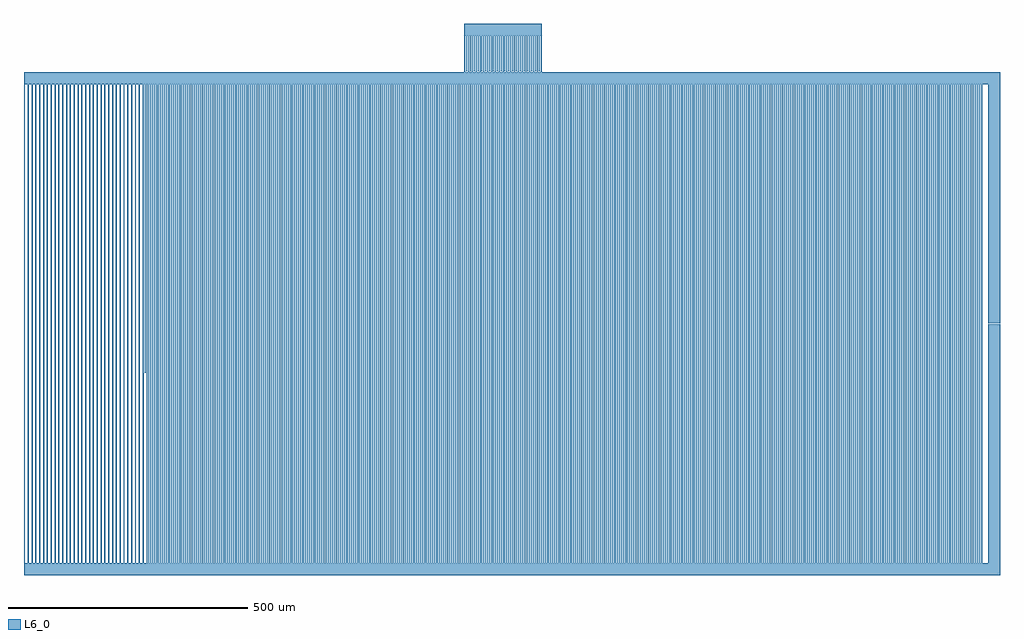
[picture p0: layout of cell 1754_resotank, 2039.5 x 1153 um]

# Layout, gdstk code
import gdstk
lib = gdstk.Library(unit=1e-6, precision=1e-09)
def P(c, l, *ps):  # polygons
    for p in ps: c.add(gdstk.Polygon(p, *l))
L6_0 = (6, 0)

c_1754_resotank = lib.new_cell('1754_resotank')
P(c_1754_resotank, L6_0, [(54,-3523.25),(54,-3448.25),(50,-3448.25),(50,-3423.25),(212,-3423.25),(212,-3448.25),(208,-3448.25),(208,-3523.25),(206,-3523.25),(206,-3448.25),(200,-3448.25),(200,-3523.25),(198,-3523.25),(198,-3448.25),(192,-3448.25),(192,-3523.25),(190,-3523.25),(190,-3448.25),(184,-3448.25),(184,-3523.25),(182,-3523.25),(182,-3448.25),(176,-3448.25),(176,-3523.25),(174,-3523.25),(174,-3448.25),(168,-3448.25),(168,-3523.25),(166,-3523.25),(166,-3448.25),(160,-3448.25),(160,-3523.25),(158,-3523.25),(158,-3448.25),(152,-3448.25),(152,-3523.25),(150,-3523.25),(150,-3448.25),(144,-3448.25),(144,-3523.25),(142,-3523.25),(142,-3448.25),(136,-3448.25),(136,-3523.25),(134,-3523.25),(134,-3448.25),(128,-3448.25),(128,-3523.25),(126,-3523.25),(126,-3448.25),(120,-3448.25),(120,-3523.25),(118,-3523.25),(118,-3448.25),(112,-3448.25),(112,-3523.25),(110,-3523.25),(110,-3448.25),(104,-3448.25),(104,-3523.25),(102,-3523.25),(102,-3448.25),(96,-3448.25),(96,-3523.25),(94,-3523.25),(94,-3448.25),(88,-3448.25),(88,-3523.25),(86,-3523.25),(86,-3448.25),(80,-3448.25),(80,-3523.25),(78,-3523.25),(78,-3448.25),(72,-3448.25),(72,-3523.25),(70,-3523.25),(70,-3448.25),(64,-3448.25),(64,-3523.25),(62,-3523.25),(62,-3448.25),(56,-3448.25),(56,-3523.25)],
  [(-610,-4549.75),(-610,-3549.75),(-616,-3549.75),(-616,-4153.259),(-618,-4153.259),(-618,-3549.75),(-870,-3549.75),(-870,-3524.75),(-384,-3524.75),(-384,-4549.75),(-386,-4549.75),(-386,-3549.75),(-392,-3549.75),(-392,-4549.75),(-394,-4549.75),(-394,-3549.75),(-400,-3549.75),(-400,-4549.75),(-402,-4549.75),(-402,-3549.75),(-408,-3549.75),(-408,-4549.75),(-410,-4549.75),(-410,-3549.75),(-416,-3549.75),(-416,-4549.75),(-418,-4549.75),(-418,-3549.75),(-424,-3549.75),(-424,-4549.75),(-426,-4549.75),(-426,-3549.75),(-432,-3549.75),(-432,-4549.75),(-434,-4549.75),(-434,-3549.75),(-440,-3549.75),(-440,-4549.75),(-442,-4549.75),(-442,-3549.75),(-448,-3549.75),(-448,-4549.75),(-450,-4549.75),(-450,-3549.75),(-456,-3549.75),(-456,-4549.75),(-458,-4549.75),(-458,-3549.75),(-464,-3549.75),(-464,-4549.75),(-466,-4549.75),(-466,-3549.75),(-472,-3549.75),(-472,-4549.75),(-474,-4549.75),(-474,-3549.75),(-480,-3549.75),(-480,-4549.75),(-482,-4549.75),(-482,-3549.75),(-488,-3549.75),(-488,-4549.75),(-490,-4549.75),(-490,-3549.75),(-496,-3549.75),(-496,-4549.75),(-498,-4549.75),(-498,-3549.75),(-504,-3549.75),(-504,-4549.75),(-506,-4549.75),(-506,-3549.75),(-512,-3549.75),(-512,-4549.75),(-514,-4549.75),(-514,-3549.75),(-520,-3549.75),(-520,-4549.75),(-522,-4549.75),(-522,-3549.75),(-528,-3549.75),(-528,-4549.75),(-530,-4549.75),(-530,-3549.75),(-536,-3549.75),(-536,-4549.75),(-538,-4549.75),(-538,-3549.75),(-544,-3549.75),(-544,-4549.75),(-546,-4549.75),(-546,-3549.75),(-552,-3549.75),(-552,-4549.75),(-554,-4549.75),(-554,-3549.75),(-560,-3549.75),(-560,-4549.75),(-562,-4549.75),(-562,-3549.75),(-568,-3549.75),(-568,-4549.75),(-570,-4549.75),(-570,-3549.75),(-576,-3549.75),(-576,-4549.75),(-578,-4549.75),(-578,-3549.75),(-584,-3549.75),(-584,-4549.75),(-586,-4549.75),(-586,-3549.75),(-592,-3549.75),(-592,-4549.75),(-594,-4549.75),(-594,-3549.75),(-600,-3549.75),(-600,-4549.75),(-602,-4549.75),(-602,-3549.75),(-608,-3549.75),(-608,-4549.75)],
  [(-378,-4549.75),(-378,-3549.75),(-384,-3549.75),(-384,-3524.75),(-144,-3524.75),(-144,-4549.75),(-146,-4549.75),(-146,-3549.75),(-152,-3549.75),(-152,-4549.75),(-154,-4549.75),(-154,-3549.75),(-160,-3549.75),(-160,-4549.75),(-162,-4549.75),(-162,-3549.75),(-168,-3549.75),(-168,-4549.75),(-170,-4549.75),(-170,-3549.75),(-176,-3549.75),(-176,-4549.75),(-178,-4549.75),(-178,-3549.75),(-184,-3549.75),(-184,-4549.75),(-186,-4549.75),(-186,-3549.75),(-192,-3549.75),(-192,-4549.75),(-194,-4549.75),(-194,-3549.75),(-200,-3549.75),(-200,-4549.75),(-202,-4549.75),(-202,-3549.75),(-208,-3549.75),(-208,-4549.75),(-210,-4549.75),(-210,-3549.75),(-216,-3549.75),(-216,-4549.75),(-218,-4549.75),(-218,-3549.75),(-224,-3549.75),(-224,-4549.75),(-226,-4549.75),(-226,-3549.75),(-232,-3549.75),(-232,-4549.75),(-234,-4549.75),(-234,-3549.75),(-240,-3549.75),(-240,-4549.75),(-242,-4549.75),(-242,-3549.75),(-248,-3549.75),(-248,-4549.75),(-250,-4549.75),(-250,-3549.75),(-256,-3549.75),(-256,-4549.75),(-258,-4549.75),(-258,-3549.75),(-264,-3549.75),(-264,-4549.75),(-266,-4549.75),(-266,-3549.75),(-272,-3549.75),(-272,-4549.75),(-274,-4549.75),(-274,-3549.75),(-280,-3549.75),(-280,-4549.75),(-282,-4549.75),(-282,-3549.75),(-288,-3549.75),(-288,-4549.75),(-290,-4549.75),(-290,-3549.75),(-296,-3549.75),(-296,-4549.75),(-298,-4549.75),(-298,-3549.75),(-304,-3549.75),(-304,-4549.75),(-306,-4549.75),(-306,-3549.75),(-312,-3549.75),(-312,-4549.75),(-314,-4549.75),(-314,-3549.75),(-320,-3549.75),(-320,-4549.75),(-322,-4549.75),(-322,-3549.75),(-328,-3549.75),(-328,-4549.75),(-330,-4549.75),(-330,-3549.75),(-336,-3549.75),(-336,-4549.75),(-338,-4549.75),(-338,-3549.75),(-344,-3549.75),(-344,-4549.75),(-346,-4549.75),(-346,-3549.75),(-352,-3549.75),(-352,-4549.75),(-354,-4549.75),(-354,-3549.75),(-360,-3549.75),(-360,-4549.75),(-362,-4549.75),(-362,-3549.75),(-368,-3549.75),(-368,-4549.75),(-370,-4549.75),(-370,-3549.75),(-376,-3549.75),(-376,-4549.75)],
  [(-138,-4549.75),(-138,-3549.75),(-144,-3549.75),(-144,-3524.75),(50,-3524.75),(50,-3449.75),(52,-3449.75),(52,-3524.75),(58,-3524.75),(58,-3449.75),(60,-3449.75),(60,-3524.75),(66,-3524.75),(66,-3449.75),(68,-3449.75),(68,-3524.75),(72,-3524.75),(72,-4549.75),(70,-4549.75),(70,-3549.75),(64,-3549.75),(64,-4549.75),(62,-4549.75),(62,-3549.75),(56,-3549.75),(56,-4549.75),(54,-4549.75),(54,-3549.75),(48,-3549.75),(48,-4549.75),(46,-4549.75),(46,-3549.75),(40,-3549.75),(40,-4549.75),(38,-4549.75),(38,-3549.75),(32,-3549.75),(32,-4549.75),(30,-4549.75),(30,-3549.75),(24,-3549.75),(24,-4549.75),(22,-4549.75),(22,-3549.75),(16,-3549.75),(16,-4549.75),(14,-4549.75),(14,-3549.75),(8,-3549.75),(8,-4549.75),(6,-4549.75),(6,-3549.75),(0,-3549.75),(0,-4549.75),(-2,-4549.75),(-2,-3549.75),(-8,-3549.75),(-8,-4549.75),(-10,-4549.75),(-10,-3549.75),(-16,-3549.75),(-16,-4549.75),(-18,-4549.75),(-18,-3549.75),(-24,-3549.75),(-24,-4549.75),(-26,-4549.75),(-26,-3549.75),(-32,-3549.75),(-32,-4549.75),(-34,-4549.75),(-34,-3549.75),(-40,-3549.75),(-40,-4549.75),(-42,-4549.75),(-42,-3549.75),(-48,-3549.75),(-48,-4549.75),(-50,-4549.75),(-50,-3549.75),(-56,-3549.75),(-56,-4549.75),(-58,-4549.75),(-58,-3549.75),(-64,-3549.75),(-64,-4549.75),(-66,-4549.75),(-66,-3549.75),(-72,-3549.75),(-72,-4549.75),(-74,-4549.75),(-74,-3549.75),(-80,-3549.75),(-80,-4549.75),(-82,-4549.75),(-82,-3549.75),(-88,-3549.75),(-88,-4549.75),(-90,-4549.75),(-90,-3549.75),(-96,-3549.75),(-96,-4549.75),(-98,-4549.75),(-98,-3549.75),(-104,-3549.75),(-104,-4549.75),(-106,-4549.75),(-106,-3549.75),(-112,-3549.75),(-112,-4549.75),(-114,-4549.75),(-114,-3549.75),(-120,-3549.75),(-120,-4549.75),(-122,-4549.75),(-122,-3549.75),(-128,-3549.75),(-128,-4549.75),(-130,-4549.75),(-130,-3549.75),(-136,-3549.75),(-136,-4549.75)],
  [(78,-4549.75),(78,-3549.75),(72,-3549.75),(72,-3524.75),(74,-3524.75),(74,-3449.75),(76,-3449.75),(76,-3524.75),(82,-3524.75),(82,-3449.75),(84,-3449.75),(84,-3524.75),(90,-3524.75),(90,-3449.75),(92,-3449.75),(92,-3524.75),(98,-3524.75),(98,-3449.75),(100,-3449.75),(100,-3524.75),(106,-3524.75),(106,-3449.75),(108,-3449.75),(108,-3524.75),(114,-3524.75),(114,-3449.75),(116,-3449.75),(116,-3524.75),(122,-3524.75),(122,-3449.75),(124,-3449.75),(124,-3524.75),(130,-3524.75),(130,-3449.75),(132,-3449.75),(132,-3524.75),(138,-3524.75),(138,-3449.75),(140,-3449.75),(140,-3524.75),(146,-3524.75),(146,-3449.75),(148,-3449.75),(148,-3524.75),(154,-3524.75),(154,-3449.75),(156,-3449.75),(156,-3524.75),(162,-3524.75),(162,-3449.75),(164,-3449.75),(164,-3524.75),(170,-3524.75),(170,-3449.75),(172,-3449.75),(172,-3524.75),(178,-3524.75),(178,-3449.75),(180,-3449.75),(180,-3524.75),(186,-3524.75),(186,-3449.75),(188,-3449.75),(188,-3524.75),(194,-3524.75),(194,-3549.75),(192,-3549.75),(192,-4549.75),(190,-4549.75),(190,-3549.75),(184,-3549.75),(184,-4549.75),(182,-4549.75),(182,-3549.75),(176,-3549.75),(176,-4549.75),(174,-4549.75),(174,-3549.75),(168,-3549.75),(168,-4549.75),(166,-4549.75),(166,-3549.75),(160,-3549.75),(160,-4549.75),(158,-4549.75),(158,-3549.75),(152,-3549.75),(152,-4549.75),(150,-4549.75),(150,-3549.75),(144,-3549.75),(144,-4549.75),(142,-4549.75),(142,-3549.75),(136,-3549.75),(136,-4549.75),(134,-4549.75),(134,-3549.75),(128,-3549.75),(128,-4549.75),(126,-4549.75),(126,-3549.75),(120,-3549.75),(120,-4549.75),(118,-4549.75),(118,-3549.75),(112,-3549.75),(112,-4549.75),(110,-4549.75),(110,-3549.75),(104,-3549.75),(104,-4549.75),(102,-4549.75),(102,-3549.75),(96,-3549.75),(96,-4549.75),(94,-4549.75),(94,-3549.75),(88,-3549.75),(88,-4549.75),(86,-4549.75),(86,-3549.75),(80,-3549.75),(80,-4549.75)],
  [(198,-4549.75),(198,-3549.75),(194,-3549.75),(194,-3449.75),(196,-3449.75),(196,-3524.75),(202,-3524.75),(202,-3449.75),(204,-3449.75),(204,-3524.75),(210,-3524.75),(210,-3449.75),(212,-3449.75),(212,-3524.75),(414,-3524.75),(414,-3549.75),(408,-3549.75),(408,-4549.75),(406,-4549.75),(406,-3549.75),(400,-3549.75),(400,-4549.75),(398,-4549.75),(398,-3549.75),(392,-3549.75),(392,-4549.75),(390,-4549.75),(390,-3549.75),(384,-3549.75),(384,-4549.75),(382,-4549.75),(382,-3549.75),(376,-3549.75),(376,-4549.75),(374,-4549.75),(374,-3549.75),(368,-3549.75),(368,-4549.75),(366,-4549.75),(366,-3549.75),(360,-3549.75),(360,-4549.75),(358,-4549.75),(358,-3549.75),(352,-3549.75),(352,-4549.75),(350,-4549.75),(350,-3549.75),(344,-3549.75),(344,-4549.75),(342,-4549.75),(342,-3549.75),(336,-3549.75),(336,-4549.75),(334,-4549.75),(334,-3549.75),(328,-3549.75),(328,-4549.75),(326,-4549.75),(326,-3549.75),(320,-3549.75),(320,-4549.75),(318,-4549.75),(318,-3549.75),(312,-3549.75),(312,-4549.75),(310,-4549.75),(310,-3549.75),(304,-3549.75),(304,-4549.75),(302,-4549.75),(302,-3549.75),(296,-3549.75),(296,-4549.75),(294,-4549.75),(294,-3549.75),(288,-3549.75),(288,-4549.75),(286,-4549.75),(286,-3549.75),(280,-3549.75),(280,-4549.75),(278,-4549.75),(278,-3549.75),(272,-3549.75),(272,-4549.75),(270,-4549.75),(270,-3549.75),(264,-3549.75),(264,-4549.75),(262,-4549.75),(262,-3549.75),(256,-3549.75),(256,-4549.75),(254,-4549.75),(254,-3549.75),(248,-3549.75),(248,-4549.75),(246,-4549.75),(246,-3549.75),(240,-3549.75),(240,-4549.75),(238,-4549.75),(238,-3549.75),(232,-3549.75),(232,-4549.75),(230,-4549.75),(230,-3549.75),(224,-3549.75),(224,-4549.75),(222,-4549.75),(222,-3549.75),(216,-3549.75),(216,-4549.75),(214,-4549.75),(214,-3549.75),(208,-3549.75),(208,-4549.75),(206,-4549.75),(206,-3549.75),(200,-3549.75),(200,-4549.75)],
  [(414,-4549.75),(414,-3524.75),(654,-3524.75),(654,-3549.75),(648,-3549.75),(648,-4549.75),(646,-4549.75),(646,-3549.75),(640,-3549.75),(640,-4549.75),(638,-4549.75),(638,-3549.75),(632,-3549.75),(632,-4549.75),(630,-4549.75),(630,-3549.75),(624,-3549.75),(624,-4549.75),(622,-4549.75),(622,-3549.75),(616,-3549.75),(616,-4549.75),(614,-4549.75),(614,-3549.75),(608,-3549.75),(608,-4549.75),(606,-4549.75),(606,-3549.75),(600,-3549.75),(600,-4549.75),(598,-4549.75),(598,-3549.75),(592,-3549.75),(592,-4549.75),(590,-4549.75),(590,-3549.75),(584,-3549.75),(584,-4549.75),(582,-4549.75),(582,-3549.75),(576,-3549.75),(576,-4549.75),(574,-4549.75),(574,-3549.75),(568,-3549.75),(568,-4549.75),(566,-4549.75),(566,-3549.75),(560,-3549.75),(560,-4549.75),(558,-4549.75),(558,-3549.75),(552,-3549.75),(552,-4549.75),(550,-4549.75),(550,-3549.75),(544,-3549.75),(544,-4549.75),(542,-4549.75),(542,-3549.75),(536,-3549.75),(536,-4549.75),(534,-4549.75),(534,-3549.75),(528,-3549.75),(528,-4549.75),(526,-4549.75),(526,-3549.75),(520,-3549.75),(520,-4549.75),(518,-4549.75),(518,-3549.75),(512,-3549.75),(512,-4549.75),(510,-4549.75),(510,-3549.75),(504,-3549.75),(504,-4549.75),(502,-4549.75),(502,-3549.75),(496,-3549.75),(496,-4549.75),(494,-4549.75),(494,-3549.75),(488,-3549.75),(488,-4549.75),(486,-4549.75),(486,-3549.75),(480,-3549.75),(480,-4549.75),(478,-4549.75),(478,-3549.75),(472,-3549.75),(472,-4549.75),(470,-4549.75),(470,-3549.75),(464,-3549.75),(464,-4549.75),(462,-4549.75),(462,-3549.75),(456,-3549.75),(456,-4549.75),(454,-4549.75),(454,-3549.75),(448,-3549.75),(448,-4549.75),(446,-4549.75),(446,-3549.75),(440,-3549.75),(440,-4549.75),(438,-4549.75),(438,-3549.75),(432,-3549.75),(432,-4549.75),(430,-4549.75),(430,-3549.75),(424,-3549.75),(424,-4549.75),(422,-4549.75),(422,-3549.75),(416,-3549.75),(416,-4549.75)],
  [(654,-4549.75),(654,-3524.75),(894,-3524.75),(894,-3549.75),(888,-3549.75),(888,-4549.75),(886,-4549.75),(886,-3549.75),(880,-3549.75),(880,-4549.75),(878,-4549.75),(878,-3549.75),(872,-3549.75),(872,-4549.75),(870,-4549.75),(870,-3549.75),(864,-3549.75),(864,-4549.75),(862,-4549.75),(862,-3549.75),(856,-3549.75),(856,-4549.75),(854,-4549.75),(854,-3549.75),(848,-3549.75),(848,-4549.75),(846,-4549.75),(846,-3549.75),(840,-3549.75),(840,-4549.75),(838,-4549.75),(838,-3549.75),(832,-3549.75),(832,-4549.75),(830,-4549.75),(830,-3549.75),(824,-3549.75),(824,-4549.75),(822,-4549.75),(822,-3549.75),(816,-3549.75),(816,-4549.75),(814,-4549.75),(814,-3549.75),(808,-3549.75),(808,-4549.75),(806,-4549.75),(806,-3549.75),(800,-3549.75),(800,-4549.75),(798,-4549.75),(798,-3549.75),(792,-3549.75),(792,-4549.75),(790,-4549.75),(790,-3549.75),(784,-3549.75),(784,-4549.75),(782,-4549.75),(782,-3549.75),(776,-3549.75),(776,-4549.75),(774,-4549.75),(774,-3549.75),(768,-3549.75),(768,-4549.75),(766,-4549.75),(766,-3549.75),(760,-3549.75),(760,-4549.75),(758,-4549.75),(758,-3549.75),(752,-3549.75),(752,-4549.75),(750,-4549.75),(750,-3549.75),(744,-3549.75),(744,-4549.75),(742,-4549.75),(742,-3549.75),(736,-3549.75),(736,-4549.75),(734,-4549.75),(734,-3549.75),(728,-3549.75),(728,-4549.75),(726,-4549.75),(726,-3549.75),(720,-3549.75),(720,-4549.75),(718,-4549.75),(718,-3549.75),(712,-3549.75),(712,-4549.75),(710,-4549.75),(710,-3549.75),(704,-3549.75),(704,-4549.75),(702,-4549.75),(702,-3549.75),(696,-3549.75),(696,-4549.75),(694,-4549.75),(694,-3549.75),(688,-3549.75),(688,-4549.75),(686,-4549.75),(686,-3549.75),(680,-3549.75),(680,-4549.75),(678,-4549.75),(678,-3549.75),(672,-3549.75),(672,-4549.75),(670,-4549.75),(670,-3549.75),(664,-3549.75),(664,-4549.75),(662,-4549.75),(662,-3549.75),(656,-3549.75),(656,-4549.75)],
  [(894,-4549.75),(894,-3524.75),(1169.5,-3524.75),(1169.5,-4049.5),(1144.5,-4049.5),(1144.5,-3549.75),(1128,-3549.75),(1128,-4549.75),(1126,-4549.75),(1126,-3549.75),(1120,-3549.75),(1120,-4549.75),(1118,-4549.75),(1118,-3549.75),(1112,-3549.75),(1112,-4549.75),(1110,-4549.75),(1110,-3549.75),(1104,-3549.75),(1104,-4549.75),(1102,-4549.75),(1102,-3549.75),(1096,-3549.75),(1096,-4549.75),(1094,-4549.75),(1094,-3549.75),(1088,-3549.75),(1088,-4549.75),(1086,-4549.75),(1086,-3549.75),(1080,-3549.75),(1080,-4549.75),(1078,-4549.75),(1078,-3549.75),(1072,-3549.75),(1072,-4549.75),(1070,-4549.75),(1070,-3549.75),(1064,-3549.75),(1064,-4549.75),(1062,-4549.75),(1062,-3549.75),(1056,-3549.75),(1056,-4549.75),(1054,-4549.75),(1054,-3549.75),(1048,-3549.75),(1048,-4549.75),(1046,-4549.75),(1046,-3549.75),(1040,-3549.75),(1040,-4549.75),(1038,-4549.75),(1038,-3549.75),(1032,-3549.75),(1032,-4549.75),(1030,-4549.75),(1030,-3549.75),(1024,-3549.75),(1024,-4549.75),(1022,-4549.75),(1022,-3549.75),(1016,-3549.75),(1016,-4549.75),(1014,-4549.75),(1014,-3549.75),(1008,-3549.75),(1008,-4549.75),(1006,-4549.75),(1006,-3549.75),(1000,-3549.75),(1000,-4549.75),(998,-4549.75),(998,-3549.75),(992,-3549.75),(992,-4549.75),(990,-4549.75),(990,-3549.75),(984,-3549.75),(984,-4549.75),(982,-4549.75),(982,-3549.75),(976,-3549.75),(976,-4549.75),(974,-4549.75),(974,-3549.75),(968,-3549.75),(968,-4549.75),(966,-4549.75),(966,-3549.75),(960,-3549.75),(960,-4549.75),(958,-4549.75),(958,-3549.75),(952,-3549.75),(952,-4549.75),(950,-4549.75),(950,-3549.75),(944,-3549.75),(944,-4549.75),(942,-4549.75),(942,-3549.75),(936,-3549.75),(936,-4549.75),(934,-4549.75),(934,-3549.75),(928,-3549.75),(928,-4549.75),(926,-4549.75),(926,-3549.75),(920,-3549.75),(920,-4549.75),(918,-4549.75),(918,-3549.75),(912,-3549.75),(912,-4549.75),(910,-4549.75),(910,-3549.75),(904,-3549.75),(904,-4549.75),(902,-4549.75),(902,-3549.75),(896,-3549.75),(896,-4549.75)],
  [(-870,-4576.25),(-870,-3551.25),(-868,-3551.25),(-868,-4551.25),(-862,-4551.25),(-862,-3551.25),(-860,-3551.25),(-860,-4551.25),(-854,-4551.25),(-854,-3551.25),(-852,-3551.25),(-852,-4551.25),(-846,-4551.25),(-846,-3551.25),(-844,-3551.25),(-844,-4551.25),(-838,-4551.25),(-838,-3551.25),(-836,-3551.25),(-836,-4551.25),(-830,-4551.25),(-830,-3551.25),(-828,-3551.25),(-828,-4551.25),(-822,-4551.25),(-822,-3551.25),(-820,-3551.25),(-820,-4551.25),(-814,-4551.25),(-814,-3551.25),(-812,-3551.25),(-812,-4551.25),(-806,-4551.25),(-806,-3551.25),(-804,-3551.25),(-804,-4551.25),(-798,-4551.25),(-798,-3551.25),(-796,-3551.25),(-796,-4551.25),(-790,-4551.25),(-790,-3551.25),(-788,-3551.25),(-788,-4551.25),(-782,-4551.25),(-782,-3551.25),(-780,-3551.25),(-780,-4551.25),(-774,-4551.25),(-774,-3551.25),(-772,-3551.25),(-772,-4551.25),(-766,-4551.25),(-766,-3551.25),(-764,-3551.25),(-764,-4551.25),(-758,-4551.25),(-758,-3551.25),(-756,-3551.25),(-756,-4551.25),(-750,-4551.25),(-750,-3551.25),(-748,-3551.25),(-748,-4551.25),(-742,-4551.25),(-742,-3551.25),(-740,-3551.25),(-740,-4551.25),(-734,-4551.25),(-734,-3551.25),(-732,-3551.25),(-732,-4551.25),(-726,-4551.25),(-726,-3551.25),(-724,-3551.25),(-724,-4551.25),(-718,-4551.25),(-718,-3551.25),(-716,-3551.25),(-716,-4551.25),(-710,-4551.25),(-710,-3551.25),(-708,-3551.25),(-708,-4551.25),(-702,-4551.25),(-702,-3551.25),(-700,-3551.25),(-700,-4551.25),(-694,-4551.25),(-694,-3551.25),(-692,-3551.25),(-692,-4551.25),(-686,-4551.25),(-686,-3551.25),(-684,-3551.25),(-684,-4551.25),(-678,-4551.25),(-678,-3551.25),(-676,-3551.25),(-676,-4551.25),(-670,-4551.25),(-670,-3551.25),(-668,-3551.25),(-668,-4551.25),(-662,-4551.25),(-662,-3551.25),(-660,-3551.25),(-660,-4551.25),(-654,-4551.25),(-654,-3551.25),(-652,-3551.25),(-652,-4551.25),(-646,-4551.25),(-646,-3551.25),(-644,-3551.25),(-644,-4551.25),(-638,-4551.25),(-638,-3551.25),(-636,-3551.25),(-636,-4551.25),(-630,-4551.25),(-630,-3551.25),(-628,-3551.25),(-628,-4551.25),(-622,-4551.25),(-622,-4576.25)],
  [(-622,-4576.25),(-622,-3551.25),(-620,-3551.25),(-620,-4551.25),(-614,-4551.25),(-614,-3551.25),(-612,-3551.25),(-612,-4551.25),(-606,-4551.25),(-606,-3551.25),(-604,-3551.25),(-604,-4551.25),(-598,-4551.25),(-598,-3551.25),(-596,-3551.25),(-596,-4551.25),(-590,-4551.25),(-590,-3551.25),(-588,-3551.25),(-588,-4551.25),(-582,-4551.25),(-582,-3551.25),(-580,-3551.25),(-580,-4551.25),(-574,-4551.25),(-574,-3551.25),(-572,-3551.25),(-572,-4551.25),(-566,-4551.25),(-566,-3551.25),(-564,-3551.25),(-564,-4551.25),(-558,-4551.25),(-558,-3551.25),(-556,-3551.25),(-556,-4551.25),(-550,-4551.25),(-550,-3551.25),(-548,-3551.25),(-548,-4551.25),(-542,-4551.25),(-542,-3551.25),(-540,-3551.25),(-540,-4551.25),(-534,-4551.25),(-534,-3551.25),(-532,-3551.25),(-532,-4551.25),(-526,-4551.25),(-526,-3551.25),(-524,-3551.25),(-524,-4551.25),(-518,-4551.25),(-518,-3551.25),(-516,-3551.25),(-516,-4551.25),(-510,-4551.25),(-510,-3551.25),(-508,-3551.25),(-508,-4551.25),(-502,-4551.25),(-502,-3551.25),(-500,-3551.25),(-500,-4551.25),(-494,-4551.25),(-494,-3551.25),(-492,-3551.25),(-492,-4551.25),(-486,-4551.25),(-486,-3551.25),(-484,-3551.25),(-484,-4551.25),(-478,-4551.25),(-478,-3551.25),(-476,-3551.25),(-476,-4551.25),(-470,-4551.25),(-470,-3551.25),(-468,-3551.25),(-468,-4551.25),(-462,-4551.25),(-462,-3551.25),(-460,-3551.25),(-460,-4551.25),(-454,-4551.25),(-454,-3551.25),(-452,-3551.25),(-452,-4551.25),(-446,-4551.25),(-446,-3551.25),(-444,-3551.25),(-444,-4551.25),(-438,-4551.25),(-438,-3551.25),(-436,-3551.25),(-436,-4551.25),(-430,-4551.25),(-430,-3551.25),(-428,-3551.25),(-428,-4551.25),(-422,-4551.25),(-422,-3551.25),(-420,-3551.25),(-420,-4551.25),(-414,-4551.25),(-414,-3551.25),(-412,-3551.25),(-412,-4551.25),(-406,-4551.25),(-406,-3551.25),(-404,-3551.25),(-404,-4551.25),(-398,-4551.25),(-398,-3551.25),(-396,-3551.25),(-396,-4551.25),(-390,-4551.25),(-390,-3551.25),(-388,-3551.25),(-388,-4551.25),(-382,-4551.25),(-382,-3551.25),(-380,-3551.25),(-380,-4551.25),(-374,-4551.25),(-374,-3551.25),(-372,-3551.25),(-372,-4576.25)],
  [(-372,-4576.25),(-372,-4551.25),(-366,-4551.25),(-366,-3551.25),(-364,-3551.25),(-364,-4551.25),(-358,-4551.25),(-358,-3551.25),(-356,-3551.25),(-356,-4551.25),(-350,-4551.25),(-350,-3551.25),(-348,-3551.25),(-348,-4551.25),(-342,-4551.25),(-342,-3551.25),(-340,-3551.25),(-340,-4551.25),(-334,-4551.25),(-334,-3551.25),(-332,-3551.25),(-332,-4551.25),(-326,-4551.25),(-326,-3551.25),(-324,-3551.25),(-324,-4551.25),(-318,-4551.25),(-318,-3551.25),(-316,-3551.25),(-316,-4551.25),(-310,-4551.25),(-310,-3551.25),(-308,-3551.25),(-308,-4551.25),(-302,-4551.25),(-302,-3551.25),(-300,-3551.25),(-300,-4551.25),(-294,-4551.25),(-294,-3551.25),(-292,-3551.25),(-292,-4551.25),(-286,-4551.25),(-286,-3551.25),(-284,-3551.25),(-284,-4551.25),(-278,-4551.25),(-278,-3551.25),(-276,-3551.25),(-276,-4551.25),(-270,-4551.25),(-270,-3551.25),(-268,-3551.25),(-268,-4551.25),(-262,-4551.25),(-262,-3551.25),(-260,-3551.25),(-260,-4551.25),(-254,-4551.25),(-254,-3551.25),(-252,-3551.25),(-252,-4551.25),(-246,-4551.25),(-246,-3551.25),(-244,-3551.25),(-244,-4551.25),(-238,-4551.25),(-238,-3551.25),(-236,-3551.25),(-236,-4551.25),(-230,-4551.25),(-230,-3551.25),(-228,-3551.25),(-228,-4551.25),(-222,-4551.25),(-222,-3551.25),(-220,-3551.25),(-220,-4551.25),(-214,-4551.25),(-214,-3551.25),(-212,-3551.25),(-212,-4551.25),(-206,-4551.25),(-206,-3551.25),(-204,-3551.25),(-204,-4551.25),(-198,-4551.25),(-198,-3551.25),(-196,-3551.25),(-196,-4551.25),(-190,-4551.25),(-190,-3551.25),(-188,-3551.25),(-188,-4551.25),(-182,-4551.25),(-182,-3551.25),(-180,-3551.25),(-180,-4551.25),(-174,-4551.25),(-174,-3551.25),(-172,-3551.25),(-172,-4551.25),(-166,-4551.25),(-166,-3551.25),(-164,-3551.25),(-164,-4551.25),(-158,-4551.25),(-158,-3551.25),(-156,-3551.25),(-156,-4551.25),(-150,-4551.25),(-150,-3551.25),(-148,-3551.25),(-148,-4551.25),(-142,-4551.25),(-142,-3551.25),(-140,-3551.25),(-140,-4551.25),(-134,-4551.25),(-134,-3551.25),(-132,-3551.25),(-132,-4551.25),(-126,-4551.25),(-126,-3551.25),(-124,-3551.25),(-124,-4551.25),(-118,-4551.25),(-118,-4576.25)],
  [(-118,-4576.25),(-118,-3551.25),(-116,-3551.25),(-116,-4551.25),(-110,-4551.25),(-110,-3551.25),(-108,-3551.25),(-108,-4551.25),(-102,-4551.25),(-102,-3551.25),(-100,-3551.25),(-100,-4551.25),(-94,-4551.25),(-94,-3551.25),(-92,-3551.25),(-92,-4551.25),(-86,-4551.25),(-86,-3551.25),(-84,-3551.25),(-84,-4551.25),(-78,-4551.25),(-78,-3551.25),(-76,-3551.25),(-76,-4551.25),(-70,-4551.25),(-70,-3551.25),(-68,-3551.25),(-68,-4551.25),(-62,-4551.25),(-62,-3551.25),(-60,-3551.25),(-60,-4551.25),(-54,-4551.25),(-54,-3551.25),(-52,-3551.25),(-52,-4551.25),(-46,-4551.25),(-46,-3551.25),(-44,-3551.25),(-44,-4551.25),(-38,-4551.25),(-38,-3551.25),(-36,-3551.25),(-36,-4551.25),(-30,-4551.25),(-30,-3551.25),(-28,-3551.25),(-28,-4551.25),(-22,-4551.25),(-22,-3551.25),(-20,-3551.25),(-20,-4551.25),(-14,-4551.25),(-14,-3551.25),(-12,-3551.25),(-12,-4551.25),(-6,-4551.25),(-6,-3551.25),(-4,-3551.25),(-4,-4551.25),(2,-4551.25),(2,-3551.25),(4,-3551.25),(4,-4551.25),(10,-4551.25),(10,-3551.25),(12,-3551.25),(12,-4551.25),(18,-4551.25),(18,-3551.25),(20,-3551.25),(20,-4551.25),(26,-4551.25),(26,-3551.25),(28,-3551.25),(28,-4551.25),(34,-4551.25),(34,-3551.25),(36,-3551.25),(36,-4551.25),(42,-4551.25),(42,-3551.25),(44,-3551.25),(44,-4551.25),(50,-4551.25),(50,-3551.25),(52,-3551.25),(52,-4551.25),(58,-4551.25),(58,-3551.25),(60,-3551.25),(60,-4551.25),(66,-4551.25),(66,-3551.25),(68,-3551.25),(68,-4551.25),(74,-4551.25),(74,-3551.25),(76,-3551.25),(76,-4551.25),(82,-4551.25),(82,-3551.25),(84,-3551.25),(84,-4551.25),(90,-4551.25),(90,-3551.25),(92,-3551.25),(92,-4551.25),(98,-4551.25),(98,-3551.25),(100,-3551.25),(100,-4551.25),(106,-4551.25),(106,-3551.25),(108,-3551.25),(108,-4551.25),(114,-4551.25),(114,-3551.25),(116,-3551.25),(116,-4551.25),(122,-4551.25),(122,-3551.25),(124,-3551.25),(124,-4551.25),(130,-4551.25),(130,-3551.25),(132,-3551.25),(132,-4576.25)],
  [(132,-4576.25),(132,-4551.25),(138,-4551.25),(138,-3551.25),(140,-3551.25),(140,-4551.25),(146,-4551.25),(146,-3551.25),(148,-3551.25),(148,-4551.25),(154,-4551.25),(154,-3551.25),(156,-3551.25),(156,-4551.25),(162,-4551.25),(162,-3551.25),(164,-3551.25),(164,-4551.25),(170,-4551.25),(170,-3551.25),(172,-3551.25),(172,-4551.25),(178,-4551.25),(178,-3551.25),(180,-3551.25),(180,-4551.25),(186,-4551.25),(186,-3551.25),(188,-3551.25),(188,-4551.25),(194,-4551.25),(194,-3551.25),(196,-3551.25),(196,-4551.25),(202,-4551.25),(202,-3551.25),(204,-3551.25),(204,-4551.25),(210,-4551.25),(210,-3551.25),(212,-3551.25),(212,-4551.25),(218,-4551.25),(218,-3551.25),(220,-3551.25),(220,-4551.25),(226,-4551.25),(226,-3551.25),(228,-3551.25),(228,-4551.25),(234,-4551.25),(234,-3551.25),(236,-3551.25),(236,-4551.25),(242,-4551.25),(242,-3551.25),(244,-3551.25),(244,-4551.25),(250,-4551.25),(250,-3551.25),(252,-3551.25),(252,-4551.25),(258,-4551.25),(258,-3551.25),(260,-3551.25),(260,-4551.25),(266,-4551.25),(266,-3551.25),(268,-3551.25),(268,-4551.25),(274,-4551.25),(274,-3551.25),(276,-3551.25),(276,-4551.25),(282,-4551.25),(282,-3551.25),(284,-3551.25),(284,-4551.25),(290,-4551.25),(290,-3551.25),(292,-3551.25),(292,-4551.25),(298,-4551.25),(298,-3551.25),(300,-3551.25),(300,-4551.25),(306,-4551.25),(306,-3551.25),(308,-3551.25),(308,-4551.25),(314,-4551.25),(314,-3551.25),(316,-3551.25),(316,-4551.25),(322,-4551.25),(322,-3551.25),(324,-3551.25),(324,-4551.25),(330,-4551.25),(330,-3551.25),(332,-3551.25),(332,-4551.25),(338,-4551.25),(338,-3551.25),(340,-3551.25),(340,-4551.25),(346,-4551.25),(346,-3551.25),(348,-3551.25),(348,-4551.25),(354,-4551.25),(354,-3551.25),(356,-3551.25),(356,-4551.25),(362,-4551.25),(362,-3551.25),(364,-3551.25),(364,-4551.25),(370,-4551.25),(370,-3551.25),(372,-3551.25),(372,-4551.25),(378,-4551.25),(378,-3551.25),(380,-3551.25),(380,-4551.25),(386,-4551.25),(386,-4576.25)],
  [(386,-4576.25),(386,-3551.25),(388,-3551.25),(388,-4551.25),(394,-4551.25),(394,-3551.25),(396,-3551.25),(396,-4551.25),(402,-4551.25),(402,-3551.25),(404,-3551.25),(404,-4551.25),(410,-4551.25),(410,-3551.25),(412,-3551.25),(412,-4551.25),(418,-4551.25),(418,-3551.25),(420,-3551.25),(420,-4551.25),(426,-4551.25),(426,-3551.25),(428,-3551.25),(428,-4551.25),(434,-4551.25),(434,-3551.25),(436,-3551.25),(436,-4551.25),(442,-4551.25),(442,-3551.25),(444,-3551.25),(444,-4551.25),(450,-4551.25),(450,-3551.25),(452,-3551.25),(452,-4551.25),(458,-4551.25),(458,-3551.25),(460,-3551.25),(460,-4551.25),(466,-4551.25),(466,-3551.25),(468,-3551.25),(468,-4551.25),(474,-4551.25),(474,-3551.25),(476,-3551.25),(476,-4551.25),(482,-4551.25),(482,-3551.25),(484,-3551.25),(484,-4551.25),(490,-4551.25),(490,-3551.25),(492,-3551.25),(492,-4551.25),(498,-4551.25),(498,-3551.25),(500,-3551.25),(500,-4551.25),(506,-4551.25),(506,-3551.25),(508,-3551.25),(508,-4551.25),(514,-4551.25),(514,-3551.25),(516,-3551.25),(516,-4551.25),(522,-4551.25),(522,-3551.25),(524,-3551.25),(524,-4551.25),(530,-4551.25),(530,-3551.25),(532,-3551.25),(532,-4551.25),(538,-4551.25),(538,-3551.25),(540,-3551.25),(540,-4551.25),(546,-4551.25),(546,-3551.25),(548,-3551.25),(548,-4551.25),(554,-4551.25),(554,-3551.25),(556,-3551.25),(556,-4551.25),(562,-4551.25),(562,-3551.25),(564,-3551.25),(564,-4551.25),(570,-4551.25),(570,-3551.25),(572,-3551.25),(572,-4551.25),(578,-4551.25),(578,-3551.25),(580,-3551.25),(580,-4551.25),(586,-4551.25),(586,-3551.25),(588,-3551.25),(588,-4551.25),(594,-4551.25),(594,-3551.25),(596,-3551.25),(596,-4551.25),(602,-4551.25),(602,-3551.25),(604,-3551.25),(604,-4551.25),(610,-4551.25),(610,-3551.25),(612,-3551.25),(612,-4551.25),(618,-4551.25),(618,-3551.25),(620,-3551.25),(620,-4551.25),(626,-4551.25),(626,-3551.25),(628,-3551.25),(628,-4551.25),(634,-4551.25),(634,-3551.25),(636,-3551.25),(636,-4576.25)],
  [(636,-4576.25),(636,-4551.25),(642,-4551.25),(642,-3551.25),(644,-3551.25),(644,-4551.25),(650,-4551.25),(650,-3551.25),(652,-3551.25),(652,-4551.25),(658,-4551.25),(658,-3551.25),(660,-3551.25),(660,-4551.25),(666,-4551.25),(666,-3551.25),(668,-3551.25),(668,-4551.25),(674,-4551.25),(674,-3551.25),(676,-3551.25),(676,-4551.25),(682,-4551.25),(682,-3551.25),(684,-3551.25),(684,-4551.25),(690,-4551.25),(690,-3551.25),(692,-3551.25),(692,-4551.25),(698,-4551.25),(698,-3551.25),(700,-3551.25),(700,-4551.25),(706,-4551.25),(706,-3551.25),(708,-3551.25),(708,-4551.25),(714,-4551.25),(714,-3551.25),(716,-3551.25),(716,-4551.25),(722,-4551.25),(722,-3551.25),(724,-3551.25),(724,-4551.25),(730,-4551.25),(730,-3551.25),(732,-3551.25),(732,-4551.25),(738,-4551.25),(738,-3551.25),(740,-3551.25),(740,-4551.25),(746,-4551.25),(746,-3551.25),(748,-3551.25),(748,-4551.25),(754,-4551.25),(754,-3551.25),(756,-3551.25),(756,-4551.25),(762,-4551.25),(762,-3551.25),(764,-3551.25),(764,-4551.25),(770,-4551.25),(770,-3551.25),(772,-3551.25),(772,-4551.25),(778,-4551.25),(778,-3551.25),(780,-3551.25),(780,-4551.25),(786,-4551.25),(786,-3551.25),(788,-3551.25),(788,-4551.25),(794,-4551.25),(794,-3551.25),(796,-3551.25),(796,-4551.25),(802,-4551.25),(802,-3551.25),(804,-3551.25),(804,-4551.25),(810,-4551.25),(810,-3551.25),(812,-3551.25),(812,-4551.25),(818,-4551.25),(818,-3551.25),(820,-3551.25),(820,-4551.25),(826,-4551.25),(826,-3551.25),(828,-3551.25),(828,-4551.25),(834,-4551.25),(834,-3551.25),(836,-3551.25),(836,-4551.25),(842,-4551.25),(842,-3551.25),(844,-3551.25),(844,-4551.25),(850,-4551.25),(850,-3551.25),(852,-3551.25),(852,-4551.25),(858,-4551.25),(858,-3551.25),(860,-3551.25),(860,-4551.25),(866,-4551.25),(866,-3551.25),(868,-3551.25),(868,-4551.25),(874,-4551.25),(874,-3551.25),(876,-3551.25),(876,-4551.25),(882,-4551.25),(882,-3551.25),(884,-3551.25),(884,-4551.25),(890,-4551.25),(890,-4576.25)],
  [(890,-4576.25),(890,-3551.25),(892,-3551.25),(892,-4551.25),(898,-4551.25),(898,-3551.25),(900,-3551.25),(900,-4551.25),(906,-4551.25),(906,-3551.25),(908,-3551.25),(908,-4551.25),(914,-4551.25),(914,-3551.25),(916,-3551.25),(916,-4551.25),(922,-4551.25),(922,-3551.25),(924,-3551.25),(924,-4551.25),(930,-4551.25),(930,-3551.25),(932,-3551.25),(932,-4551.25),(938,-4551.25),(938,-3551.25),(940,-3551.25),(940,-4551.25),(946,-4551.25),(946,-3551.25),(948,-3551.25),(948,-4551.25),(954,-4551.25),(954,-3551.25),(956,-3551.25),(956,-4551.25),(962,-4551.25),(962,-3551.25),(964,-3551.25),(964,-4551.25),(970,-4551.25),(970,-3551.25),(972,-3551.25),(972,-4551.25),(978,-4551.25),(978,-3551.25),(980,-3551.25),(980,-4551.25),(986,-4551.25),(986,-3551.25),(988,-3551.25),(988,-4551.25),(994,-4551.25),(994,-3551.25),(996,-3551.25),(996,-4551.25),(1002,-4551.25),(1002,-3551.25),(1004,-3551.25),(1004,-4551.25),(1010,-4551.25),(1010,-3551.25),(1012,-3551.25),(1012,-4551.25),(1018,-4551.25),(1018,-3551.25),(1020,-3551.25),(1020,-4551.25),(1026,-4551.25),(1026,-3551.25),(1028,-3551.25),(1028,-4551.25),(1034,-4551.25),(1034,-3551.25),(1036,-3551.25),(1036,-4551.25),(1042,-4551.25),(1042,-3551.25),(1044,-3551.25),(1044,-4551.25),(1050,-4551.25),(1050,-3551.25),(1052,-3551.25),(1052,-4551.25),(1058,-4551.25),(1058,-3551.25),(1060,-3551.25),(1060,-4551.25),(1066,-4551.25),(1066,-3551.25),(1068,-3551.25),(1068,-4551.25),(1074,-4551.25),(1074,-3551.25),(1076,-3551.25),(1076,-4551.25),(1082,-4551.25),(1082,-3551.25),(1084,-3551.25),(1084,-4551.25),(1090,-4551.25),(1090,-3551.25),(1092,-3551.25),(1092,-4551.25),(1098,-4551.25),(1098,-3551.25),(1100,-3551.25),(1100,-4551.25),(1106,-4551.25),(1106,-3551.25),(1108,-3551.25),(1108,-4551.25),(1114,-4551.25),(1114,-3551.25),(1116,-3551.25),(1116,-4551.25),(1122,-4551.25),(1122,-3551.25),(1124,-3551.25),(1124,-4551.25),(1130,-4551.25),(1130,-3551.25),(1132,-3551.25),(1132,-4551.25),(1144.5,-4551.25),(1144.5,-4051.5),(1169.5,-4051.5),(1169.5,-4576.25)])

lib.write_gds('1754_resotank.gds')
